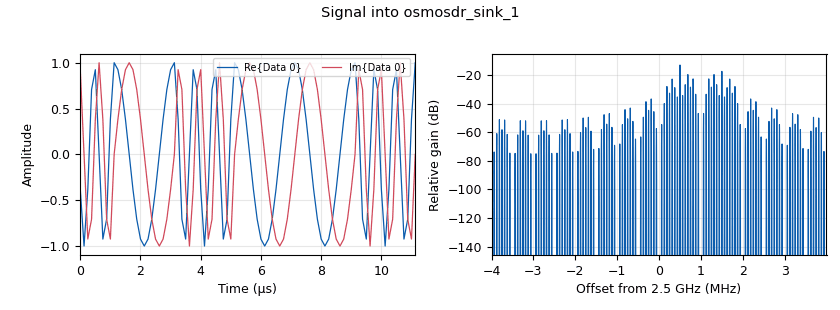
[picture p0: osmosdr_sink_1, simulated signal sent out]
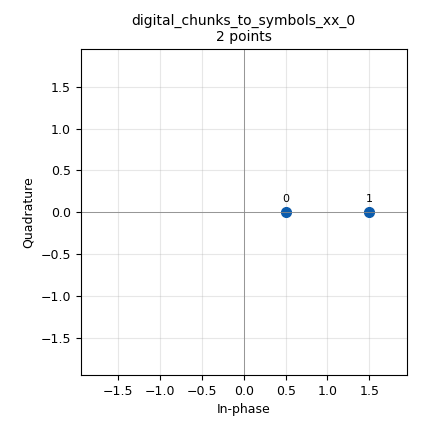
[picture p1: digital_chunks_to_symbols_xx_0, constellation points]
<?xml version='1.0' encoding='utf-8'?>
<?grc format='1' created='3.7.8'?>
<flow_graph>
<block>
<key>options</key>
<param><key>id</key><value>top_block</value></param>
<param><key>category</key><value>Custom</value></param>
<param><key>generate_options</key><value>qt_gui</value></param>
<param><key>run_options</key><value>run</value></param>
</block>
<block>
<key>variable</key>
<param><key>id</key><value>interpolation</value></param>
<param><key>value</key><value>16</value></param>
</block>
<block>
<key>variable_tag_object</key>
<param><key>id</key><value>preamble_len_tag</value></param>
<param><key>key</key><value>pmt.intern("packet_len")</value></param>
<param><key>offset</key><value>0</value></param>
<param><key>src</key><value>pmt.intern("src")</value></param>
<param><key>value</key><value>pmt.from_long(8)</value></param>
</block>
<block>
<key>variable</key>
<param><key>id</key><value>samp_rate</value></param>
<param><key>value</key><value>8e6/16</value></param>
</block>
<block>
<key>analog_frequency_modulator_fc</key>
<param><key>id</key><value>analog_frequency_modulator_fc_0</value></param>
<param><key>sensitivity</key><value>2*pi/8</value></param>
</block>
<block>
<key>blocks_complex_to_real</key>
<param><key>id</key><value>blocks_complex_to_real_0</value></param>
<param><key>_enabled</key><value>0</value></param>
</block>
<block>
<key>blocks_file_source</key>
<param><key>id</key><value>blocks_file_source_0</value></param>
<param><key>_enabled</key><value>0</value></param>
<param><key>file</key><value>/home/jonas/Music/Doors - Alabama Song.mp3</value></param>
<param><key>type</key><value>byte</value></param>
<param><key>repeat</key><value>True</value></param>
</block>
<block>
<key>blocks_float_to_complex</key>
<param><key>id</key><value>blocks_float_to_complex_0</value></param>
<param><key>_enabled</key><value>0</value></param>
</block>
<block>
<key>blocks_multiply_const_vxx</key>
<param><key>id</key><value>blocks_multiply_const_vxx_0</value></param>
<param><key>const</key><value>0.7</value></param>
<param><key>_enabled</key><value>0</value></param>
<param><key>type</key><value>float</value></param>
</block>
<block>
<key>blocks_multiply_const_vxx</key>
<param><key>id</key><value>blocks_multiply_const_vxx_1</value></param>
<param><key>const</key><value>1</value></param>
<param><key>type</key><value>complex</value></param>
</block>
<block>
<key>blocks_packed_to_unpacked_xx</key>
<param><key>id</key><value>blocks_packed_to_unpacked_xx_0</value></param>
<param><key>bits_per_chunk</key><value>1</value></param>
<param><key>endianness</key><value>gr.GR_MSB_FIRST</value></param>
<param><key>type</key><value>byte</value></param>
</block>
<block>
<key>blocks_repeat</key>
<param><key>id</key><value>blocks_repeat_0</value></param>
<param><key>interp</key><value>interpolation</value></param>
<param><key>type</key><value>byte</value></param>
</block>
<block>
<key>blocks_stream_to_tagged_stream</key>
<param><key>id</key><value>blocks_stream_to_tagged_stream_0</value></param>
<param><key>_enabled</key><value>0</value></param>
<param><key>len_tag_key</key><value>packet_len</value></param>
<param><key>packet_len</key><value>64</value></param>
<param><key>type</key><value>byte</value></param>
</block>
<block>
<key>blocks_tag_debug</key>
<param><key>id</key><value>blocks_tag_debug_0</value></param>
<param><key>display</key><value>False</value></param>
<param><key>_enabled</key><value>0</value></param>
<param><key>type</key><value>byte</value></param>
<param><key>filter</key><value></value></param>
<param><key>name</key><value>packet_length</value></param>
</block>
<block>
<key>blocks_tagged_stream_align</key>
<param><key>id</key><value>blocks_tagged_stream_align_1</value></param>
<param><key>_enabled</key><value>0</value></param>
<param><key>type</key><value>byte</value></param>
<param><key>lengthtagname</key><value>packet_len</value></param>
</block>
<block>
<key>blocks_tagged_stream_mux</key>
<param><key>id</key><value>blocks_tagged_stream_mux_0</value></param>
<param><key>_enabled</key><value>0</value></param>
<param><key>type</key><value>byte</value></param>
<param><key>lengthtagname</key><value>"packet_len"</value></param>
<param><key>ninputs</key><value>2</value></param>
</block>
<block>
<key>blocks_throttle</key>
<param><key>id</key><value>blocks_throttle_0</value></param>
<param><key>_enabled</key><value>2</value></param>
<param><key>samples_per_second</key><value>10e3</value></param>
<param><key>type</key><value>byte</value></param>
</block>
<block>
<key>blocks_vector_source_x</key>
<param><key>id</key><value>blocks_vector_source_x_0</value></param>
<param><key>_enabled</key><value>0</value></param>
<param><key>type</key><value>byte</value></param>
<param><key>repeat</key><value>True</value></param>
<param><key>tags</key><value>[preamble_len_tag]</value></param>
<param><key>vector</key><value>[0x47, 0x4c, 0x5b, 0x02, 0x18, 0x6e, 0xe0, 0xff]</value></param>
</block>
<block>
<key>blocks_vector_source_x</key>
<param><key>id</key><value>blocks_vector_source_x_1</value></param>
<param><key>type</key><value>byte</value></param>
<param><key>repeat</key><value>True</value></param>
<param><key>vector</key><value>[0x92]</value></param>
</block>
<block>
<key>digital_chunks_to_symbols_xx</key>
<param><key>id</key><value>digital_chunks_to_symbols_xx_0</value></param>
<param><key>dimension</key><value>1</value></param>
<param><key>in_type</key><value>byte</value></param>
<param><key>out_type</key><value>float</value></param>
<param><key>symbol_table</key><value>[0.5, 1.5]</value></param>
</block>
<block>
<key>import</key>
<param><key>id</key><value>import_0</value></param>
<param><key>import</key><value>import pmt</value></param>
</block>
<block>
<key>import</key>
<param><key>id</key><value>import_1</value></param>
<param><key>import</key><value>from math import pi</value></param>
</block>
<block>
<key>osmosdr_sink</key>
<param><key>id</key><value>osmosdr_sink_1</value></param>
<param><key>bb_gain0</key><value>20</value></param>
<param><key>bw0</key><value>samp_rate*interpolation</value></param>
<param><key>freq0</key><value>2.5e9</value></param>
<param><key>if_gain0</key><value>20</value></param>
<param><key>gain0</key><value>10</value></param>
<param><key>args</key><value></value></param>
<param><key>type</key><value>fc32</value></param>
<param><key>sample_rate</key><value>samp_rate*interpolation</value></param>
<param><key>sync</key><value></value></param>
</block>
<block>
<key>qtgui_freq_sink_x</key>
<param><key>id</key><value>qtgui_freq_sink_x_0_0</value></param>
<param><key>bw</key><value>samp_rate*16</value></param>
<param><key>fc</key><value>0</value></param>
<param><key>_enabled</key><value>0</value></param>
<param><key>fftsize</key><value>1024</value></param>
<param><key>showports</key><value>True</value></param>
<param><key>type</key><value>complex</value></param>
<param><key>wintype</key><value>firdes.WIN_BLACKMAN_hARRIS</value></param>
</block>
<block>
<key>qtgui_time_sink_x</key>
<param><key>id</key><value>qtgui_time_sink_x_1_0_0</value></param>
<param><key>_enabled</key><value>0</value></param>
<param><key>color1</key><value>"blue"</value></param>
<param><key>label1</key><value></value></param>
<param><key>marker1</key><value>0</value></param>
<param><key>color2</key><value>"red"</value></param>
<param><key>label2</key><value></value></param>
<param><key>color3</key><value>"green"</value></param>
<param><key>label3</key><value></value></param>
<param><key>color4</key><value>"black"</value></param>
<param><key>label4</key><value></value></param>
<param><key>nconnections</key><value>2</value></param>
<param><key>size</key><value>16</value></param>
<param><key>srate</key><value>1</value></param>
<param><key>type</key><value>complex</value></param>
</block>
<block>
<key>qtgui_waterfall_sink_x</key>
<param><key>id</key><value>qtgui_waterfall_sink_x_0</value></param>
<param><key>bw</key><value>samp_rate*16</value></param>
<param><key>fc</key><value>0</value></param>
<param><key>_enabled</key><value>0</value></param>
<param><key>fftsize</key><value>1024</value></param>
<param><key>showports</key><value>True</value></param>
<param><key>type</key><value>complex</value></param>
<param><key>wintype</key><value>firdes.WIN_BLACKMAN_hARRIS</value></param>
</block>
<connection><source_block_id>analog_frequency_modulator_fc_0</source_block_id><sink_block_id>blocks_complex_to_real_0</sink_block_id><source_key>0</source_key><sink_key>0</sink_key></connection>
<connection><source_block_id>analog_frequency_modulator_fc_0</source_block_id><sink_block_id>blocks_multiply_const_vxx_1</sink_block_id><source_key>0</source_key><sink_key>0</sink_key></connection>
<connection><source_block_id>analog_frequency_modulator_fc_0</source_block_id><sink_block_id>qtgui_time_sink_x_1_0_0</sink_block_id><source_key>0</source_key><sink_key>1</sink_key></connection>
<connection><source_block_id>blocks_complex_to_real_0</source_block_id><sink_block_id>blocks_multiply_const_vxx_0</sink_block_id><source_key>0</source_key><sink_key>0</sink_key></connection>
<connection><source_block_id>blocks_file_source_0</source_block_id><sink_block_id>blocks_stream_to_tagged_stream_0</sink_block_id><source_key>0</source_key><sink_key>0</sink_key></connection>
<connection><source_block_id>blocks_float_to_complex_0</source_block_id><sink_block_id>osmosdr_sink_1</sink_block_id><source_key>0</source_key><sink_key>0</sink_key></connection>
<connection><source_block_id>blocks_float_to_complex_0</source_block_id><sink_block_id>qtgui_time_sink_x_1_0_0</sink_block_id><source_key>0</source_key><sink_key>0</sink_key></connection>
<connection><source_block_id>blocks_float_to_complex_0</source_block_id><sink_block_id>qtgui_waterfall_sink_x_0</sink_block_id><source_key>0</source_key><sink_key>0</sink_key></connection>
<connection><source_block_id>blocks_multiply_const_vxx_0</source_block_id><sink_block_id>blocks_float_to_complex_0</sink_block_id><source_key>0</source_key><sink_key>0</sink_key></connection>
<connection><source_block_id>blocks_multiply_const_vxx_1</source_block_id><sink_block_id>osmosdr_sink_1</sink_block_id><source_key>0</source_key><sink_key>0</sink_key></connection>
<connection><source_block_id>blocks_multiply_const_vxx_1</source_block_id><sink_block_id>qtgui_freq_sink_x_0_0</sink_block_id><source_key>0</source_key><sink_key>0</sink_key></connection>
<connection><source_block_id>blocks_packed_to_unpacked_xx_0</source_block_id><sink_block_id>blocks_repeat_0</sink_block_id><source_key>0</source_key><sink_key>0</sink_key></connection>
<connection><source_block_id>blocks_repeat_0</source_block_id><sink_block_id>blocks_throttle_0</sink_block_id><source_key>0</source_key><sink_key>0</sink_key></connection>
<connection><source_block_id>blocks_stream_to_tagged_stream_0</source_block_id><sink_block_id>blocks_tagged_stream_mux_0</sink_block_id><source_key>0</source_key><sink_key>1</sink_key></connection>
<connection><source_block_id>blocks_tagged_stream_align_1</source_block_id><sink_block_id>blocks_tagged_stream_mux_0</sink_block_id><source_key>0</source_key><sink_key>0</sink_key></connection>
<connection><source_block_id>blocks_tagged_stream_mux_0</source_block_id><sink_block_id>blocks_tag_debug_0</sink_block_id><source_key>0</source_key><sink_key>0</sink_key></connection>
<connection><source_block_id>blocks_throttle_0</source_block_id><sink_block_id>digital_chunks_to_symbols_xx_0</sink_block_id><source_key>0</source_key><sink_key>0</sink_key></connection>
<connection><source_block_id>blocks_vector_source_x_0</source_block_id><sink_block_id>blocks_tagged_stream_align_1</sink_block_id><source_key>0</source_key><sink_key>0</sink_key></connection>
<connection><source_block_id>blocks_vector_source_x_1</source_block_id><sink_block_id>blocks_packed_to_unpacked_xx_0</sink_block_id><source_key>0</source_key><sink_key>0</sink_key></connection>
<connection><source_block_id>digital_chunks_to_symbols_xx_0</source_block_id><sink_block_id>analog_frequency_modulator_fc_0</sink_block_id><source_key>0</source_key><sink_key>0</sink_key></connection>
</flow_graph>
